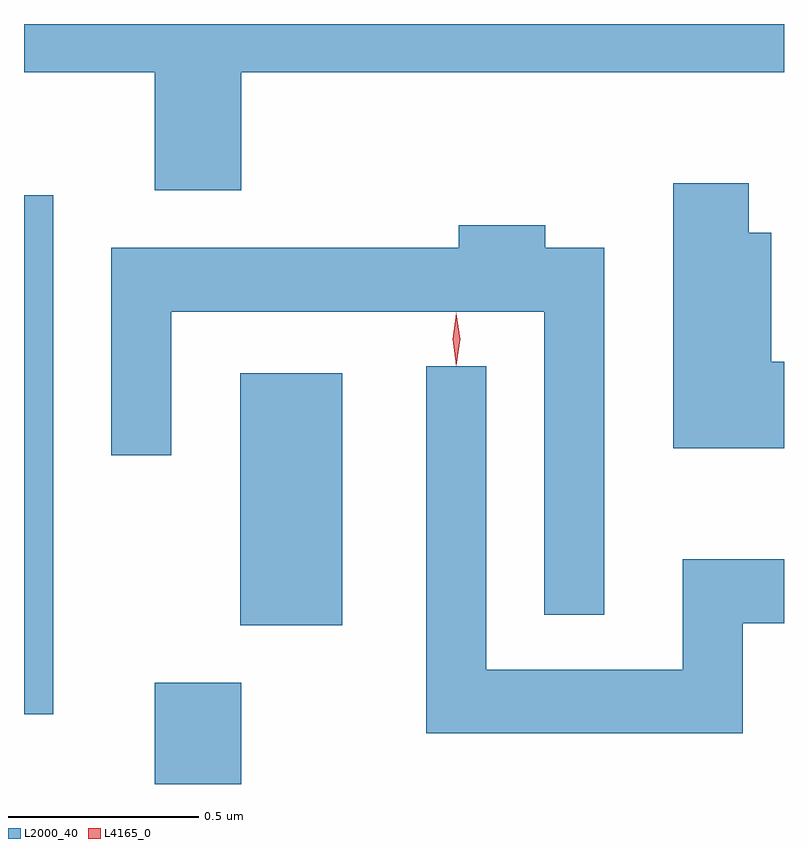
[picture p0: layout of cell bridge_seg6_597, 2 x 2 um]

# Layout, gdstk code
import gdstk
lib = gdstk.Library(unit=1e-6, precision=1e-09)
def R(c, l, rs):  # rectangles x0, y0, x1, y1
    for r in rs: c.add(gdstk.rectangle(r[:2], r[2:], *l))
def P(c, l, *ps):  # polygons
    for p in ps: c.add(gdstk.Polygon(p, *l))
L2000_40 = (2000, 40)
L4165_0 = (4165, 0)

bridge_seg6_597 = lib.new_cell('bridge_seg6_597')
R(bridge_seg6_597, L2000_40, [(411.511,1665.823,411.739,1666.089), (411.167,1666.006,411.244,1667.373), (411.736,1666.241,412.004,1666.904)])
P(bridge_seg6_597, L2000_40, [(411.739,1667.696),(413.167,1667.696),(413.167,1667.823),(411.167,1667.823),(411.167,1667.696),(411.511,1667.696),(411.511,1667.386),(411.739,1667.386)],
  [(413.167,1666.934),(413.134,1666.934),(413.134,1667.274),(413.074,1667.274),(413.074,1667.404),(412.876,1667.404),(412.876,1666.706),(413.167,1666.706)],
  [(412.694,1667.234),(412.539,1667.234),(412.539,1667.294),(412.311,1667.294),(412.311,1667.234),(411.396,1667.234),(411.396,1666.688),(411.554,1666.688),(411.554,1667.066),(412.536,1667.066),(412.536,1666.268),(412.694,1666.268)],
  [(413.059,1666.246),(413.167,1666.246),(413.167,1666.414),(412.901,1666.414),(412.901,1666.124),(412.384,1666.124),(412.384,1666.923),(412.226,1666.923),(412.226,1665.956),(413.059,1665.956)])
P(bridge_seg6_597, L4165_0, [(412.304,1666.927),(412.295,1666.994),(412.304,1667.06),(412.305,1667.06),(412.305,1667.06),(412.315,1666.994),(412.305,1666.927),(412.305,1666.927)],
  [(412.304,1666.924),(412.295,1666.993),(412.304,1667.062),(412.305,1667.063),(412.305,1667.062),(412.315,1666.993),(412.305,1666.924),(412.305,1666.924)])

lib.write_gds('bridge_seg6_597.gds')
